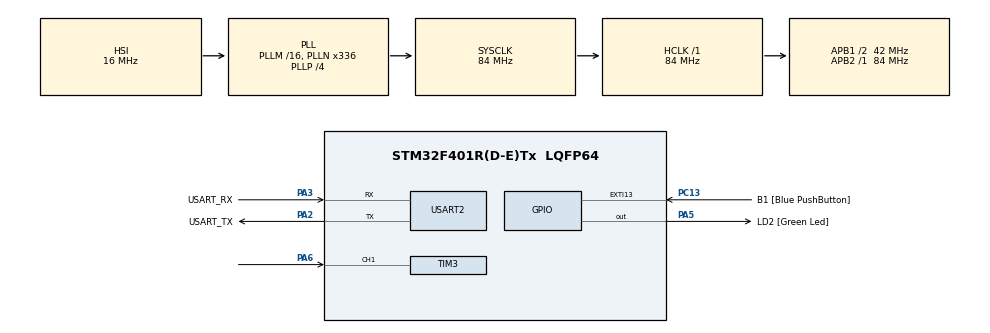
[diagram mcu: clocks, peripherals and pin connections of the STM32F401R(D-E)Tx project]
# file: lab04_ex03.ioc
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Mcu.Family=STM32F4
Mcu.Name=STM32F401R(D-E)Tx
Mcu.Package=LQFP64
NVIC.PriorityGroup=NVIC_PRIORITYGROUP_0
NVIC.TIM3_IRQn=true\:0\:0\:false\:false\:true\:true\:true\:true
NVIC.USART2_IRQn=true\:0\:0\:false\:false\:true\:true\:true\:true
PA13.GPIO_Label=TMS
PA13.Mode=Serial_Wire
PA13.Signal=SYS_JTMS-SWDIO
PA14.GPIO_Label=TCK
PA14.Mode=Serial_Wire
PA14.Signal=SYS_JTCK-SWCLK
PA2.GPIO_Label=USART_TX
PA2.GPIO_Mode=GPIO_MODE_AF_PP
PA2.GPIO_PuPd=GPIO_NOPULL
PA2.GPIO_Speed=GPIO_SPEED_FREQ_LOW
PA2.Mode=Asynchronous
PA2.Signal=USART2_TX
PA3.GPIO_Label=USART_RX
PA3.GPIO_Mode=GPIO_MODE_AF_PP
PA3.GPIO_PuPd=GPIO_NOPULL
PA3.GPIO_Speed=GPIO_SPEED_FREQ_LOW
PA3.Mode=Asynchronous
PA3.Signal=USART2_RX
PA5.GPIO_Label=LD2 [Green Led]
PA5.GPIO_Mode=GPIO_MODE_OUTPUT_PP
PA5.GPIO_PuPd=GPIO_NOPULL
PA5.GPIO_Speed=GPIO_SPEED_FREQ_LOW
PA5.Signal=GPIO_Output
PA6.Signal=S_TIM3_CH1
PB3.GPIO_Label=SWO
PB3.Signal=SYS_JTDO-SWO
PC13-ANTI_TAMP.GPIO_Label=B1 [Blue PushButton]
PC13-ANTI_TAMP.GPIO_ModeDefaultEXTI=GPIO_MODE_IT_FALLING
PC13-ANTI_TAMP.GPIO_PuPd=GPIO_NOPULL
PC13-ANTI_TAMP.Signal=GPXTI13
PC14-OSC32_IN.Mode=LSE-External-Oscillator
PC14-OSC32_IN.Signal=RCC_OSC32_IN
PC15-OSC32_OUT.Mode=LSE-External-Oscillator
PC15-OSC32_OUT.Signal=RCC_OSC32_OUT
PH0\ -\ OSC_IN.Mode=HSE-External-Clock-Source
PH0\ -\ OSC_IN.Signal=RCC_OSC_IN
PH1\ -\ OSC_OUT.Mode=HSE-External-Clock-Source
PH1\ -\ OSC_OUT.Signal=RCC_OSC_OUT
ProjectManager.HeapSize=0x200
ProjectManager.StackSize=0x400
ProjectManager.TargetToolchain=STM32CubeIDE
RCC.48MHZClocksFreq_Value=48000000
RCC.AHBFreq_Value=84000000
RCC.APB1CLKDivider=RCC_HCLK_DIV2
RCC.APB1Freq_Value=42000000
RCC.APB1TimFreq_Value=84000000
RCC.APB2Freq_Value=84000000
RCC.APB2TimFreq_Value=84000000
RCC.CortexFreq_Value=84000000
RCC.HCLKFreq_Value=84000000
RCC.HSE_VALUE=8000000
RCC.HSI_VALUE=16000000
RCC.PLLN=336
RCC.PLLP=RCC_PLLP_DIV4
RCC.PLLQ=7
RCC.SYSCLKFreq_VALUE=84000000
RCC.SYSCLKSource=RCC_SYSCLKSOURCE_PLLCLK
RCC.VCOOutputFreq_Value=336000000
SH.S_TIM3_CH1.0=TIM3_CH1,Input_Capture1_from_TI1
TIM3.Channel-Input_Capture1_from_TI1=TIM_CHANNEL_1
TIM3.ICPolarity_CH1=TIM_INPUTCHANNELPOLARITY_BOTHEDGE
TIM3.Period=39999
TIM3.Prescaler=2099
USART2.VirtualMode=VM_ASYNC
VP_TIM3_VS_ClockSourceINT.Mode=Internal
board=NUCLEO-F401RE

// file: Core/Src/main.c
/* USER CODE BEGIN Header */
/**
  ******************************************************************************
  * @file           : main.c
  * @brief          : Main program body
  ******************************************************************************
  * @attention
  *
  * Copyright (c) 2023 STMicroelectronics.
  * All rights reserved.
  *
  * This software is licensed under terms that can be found in the LICENSE file
  * in the root directory of this software component.
  * If no LICENSE file comes with this software, it is provided AS-IS.
  *
  ******************************************************************************
  */
/* USER CODE END Header */
#include "main.h"

TIM_HandleTypeDef htim3;

UART_HandleTypeDef huart2;

void SystemClock_Config(void);
static void MX_GPIO_Init(void);
static void MX_USART2_UART_Init(void);
static void MX_TIM3_Init(void);

/* USER CODE BEGIN 0 */
volatile int CaptureCompare_FLAG = 0; // Capture compare flag

volatile int correctlyReceivedData = 0;

void HAL_TIM_IC_CaptureCallback(TIM_HandleTypeDef *htim){
	CaptureCompare_FLAG = 1;
}

void HAL_UART_RxCpltCallback(UART_HandleTypeDef *huart){
	  // Set Rx flag
	  correctlyReceivedData = 1;
}
/* USER CODE END 0 */

int main(void)
{

  /* MCU Configuration--------------------------------------------------------*/

  /* Reset of all peripherals, Initializes the Flash interface and the Systick. */
  HAL_Init();

  /* Configure the system clock */
  SystemClock_Config();

  /* Initialize all configured peripherals */
  MX_GPIO_Init();
  MX_USART2_UART_Init();
  MX_TIM3_Init();
  /* USER CODE BEGIN 2 */
  int Captured_Value;
  int r_edge_counter = 0; // This will help to keep track of how many times a rising edge was detected
  int f_edge_counter = 0; // The same, but for falling edges
  int rising_edge[2];
  int falling_edge[2];
  char buffer[40];
  char received_number;

  char welcome_message[] = "Type 1 to see the frequency and 2 to see the duty cycle. Type 3 for maximum frequency and 4 for minimum frequency. \n";

  int period;
  int freq;
  int duty_cycle;
  int max_freq = 0; // variable that records the max frequency
  int min_freq = 999; // variable that records the min frequency

  /* USER CODE END 2 */

  /* Infinite loop */
  /* USER CODE BEGIN WHILE */
  HAL_TIM_IC_Start_IT(&htim3, TIM_CHANNEL_1);
  HAL_UART_Transmit_IT(&huart2, (uint8_t *)welcome_message, sizeof(char)*strlen(welcome_message));

  while (1)
  {

	if(CaptureCompare_FLAG == 1){
		CaptureCompare_FLAG = 0;
		Captured_Value = HAL_TIM_ReadCapturedValue(&htim3, TIM_CHANNEL_1); // Read the captured value

		if(HAL_GPIO_ReadPin(GPIOA, GPIO_PIN_6) == 1){
			rising_edge[r_edge_counter] = Captured_Value;
			r_edge_counter++;
		}

		else{
			falling_edge[f_edge_counter] = Captured_Value;
			f_edge_counter++;
		}
	}

	if(f_edge_counter > 1 && r_edge_counter > 1){
		r_edge_counter=0;
		f_edge_counter=0;

		if(rising_edge[1] > rising_edge[0]){
			period = rising_edge[1] - rising_edge[0];
			duty_cycle = 100*abs(rising_edge[0] - falling_edge[0])/period; // duty cycle in percentage
		}

		freq = 40000/period; // frequency in Hz

		  //__HAL_DBGMCU_FREEZE_TIM3();

		  //__HAL_DBGMCU_FREEZE_TIM2();

		if(freq > max_freq){
			max_freq = freq; // update new maximum frequency
		}
		if(freq < min_freq){
			min_freq = freq; // update new minimum frequency
		}
	}

	HAL_UART_Receive_IT(&huart2, &received_number, 1);

	// Check RX flag
   if (correctlyReceivedData == 1) {
	   correctlyReceivedData = 0;
	   if(received_number == '1'){ // Transmit last recorded frequency
		   HAL_UART_Transmit_IT(&huart2, buffer, sprintf(buffer, "The measured frequency is %d Hz \n", freq));
	   }

	   else if(received_number == '2'){ // Transmit du	ty cycle
		   HAL_UART_Transmit_IT(&huart2, buffer, sprintf(buffer, "The measured duty cycle is %d%% \n", duty_cycle));
		   }
	   else if(received_number == '3'){ // Transmit maximum frequency
	   		   HAL_UART_Transmit_IT(&huart2, buffer, sprintf(buffer, "MAX frequency is %d \n", max_freq));
	   		   }
	   else if(received_number == '4'){ // Transmit minimum frequency
	   		   HAL_UART_Transmit_IT(&huart2, buffer, sprintf(buffer, "MIN frequency is %d \n", min_freq));
	   		   }
   }

    /* USER CODE END WHILE */

  }
}

void SystemClock_Config(void)
{
  RCC_OscInitTypeDef RCC_OscInitStruct = {0};
  RCC_ClkInitTypeDef RCC_ClkInitStruct = {0};

  /** Configure the main internal regulator output voltage
  */
  __HAL_RCC_PWR_CLK_ENABLE();
  __HAL_PWR_VOLTAGESCALING_CONFIG(PWR_REGULATOR_VOLTAGE_SCALE2);

  /** Initializes the RCC Oscillators according to the specified parameters
  * in the RCC_OscInitTypeDef structure.
  */
  RCC_OscInitStruct.OscillatorType = RCC_OSCILLATORTYPE_HSI;
  RCC_OscInitStruct.HSIState = RCC_HSI_ON;
  RCC_OscInitStruct.HSICalibrationValue = RCC_HSICALIBRATION_DEFAULT;
  RCC_OscInitStruct.PLL.PLLState = RCC_PLL_ON;
  RCC_OscInitStruct.PLL.PLLSource = RCC_PLLSOURCE_HSI;
  RCC_OscInitStruct.PLL.PLLM = 16;
  RCC_OscInitStruct.PLL.PLLN = 336;
  RCC_OscInitStruct.PLL.PLLP = RCC_PLLP_DIV4;
  RCC_OscInitStruct.PLL.PLLQ = 7;
  if (HAL_RCC_OscConfig(&RCC_OscInitStruct) != HAL_OK)
  {
    Error_Handler();
  }

  /** Initializes the CPU, AHB and APB buses clocks
  */
  RCC_ClkInitStruct.ClockType = RCC_CLOCKTYPE_HCLK|RCC_CLOCKTYPE_SYSCLK
                              |RCC_CLOCKTYPE_PCLK1|RCC_CLOCKTYPE_PCLK2;
  RCC_ClkInitStruct.SYSCLKSource = RCC_SYSCLKSOURCE_PLLCLK;
  RCC_ClkInitStruct.AHBCLKDivider = RCC_SYSCLK_DIV1;
  RCC_ClkInitStruct.APB1CLKDivider = RCC_HCLK_DIV2;
  RCC_ClkInitStruct.APB2CLKDivider = RCC_HCLK_DIV1;

  if (HAL_RCC_ClockConfig(&RCC_ClkInitStruct, FLASH_LATENCY_2) != HAL_OK)
  {
    Error_Handler();
  }
}

static void MX_TIM3_Init(void)
{

  TIM_ClockConfigTypeDef sClockSourceConfig = {0};
  TIM_MasterConfigTypeDef sMasterConfig = {0};
  TIM_IC_InitTypeDef sConfigIC = {0};

  htim3.Instance = TIM3;
  htim3.Init.Prescaler = 2099;
  htim3.Init.CounterMode = TIM_COUNTERMODE_UP;
  htim3.Init.Period = 39999;
  htim3.Init.ClockDivision = TIM_CLOCKDIVISION_DIV1;
  htim3.Init.AutoReloadPreload = TIM_AUTORELOAD_PRELOAD_DISABLE;
  if (HAL_TIM_Base_Init(&htim3) != HAL_OK)
  {
    Error_Handler();
  }
  sClockSourceConfig.ClockSource = TIM_CLOCKSOURCE_INTERNAL;
  if (HAL_TIM_ConfigClockSource(&htim3, &sClockSourceConfig) != HAL_OK)
  {
    Error_Handler();
  }
  if (HAL_TIM_IC_Init(&htim3) != HAL_OK)
  {
    Error_Handler();
  }
  sMasterConfig.MasterOutputTrigger = TIM_TRGO_RESET;
  sMasterConfig.MasterSlaveMode = TIM_MASTERSLAVEMODE_DISABLE;
  if (HAL_TIMEx_MasterConfigSynchronization(&htim3, &sMasterConfig) != HAL_OK)
  {
    Error_Handler();
  }
  sConfigIC.ICPolarity = TIM_INPUTCHANNELPOLARITY_BOTHEDGE;
  sConfigIC.ICSelection = TIM_ICSELECTION_DIRECTTI;
  sConfigIC.ICPrescaler = TIM_ICPSC_DIV1;
  sConfigIC.ICFilter = 0;
  if (HAL_TIM_IC_ConfigChannel(&htim3, &sConfigIC, TIM_CHANNEL_1) != HAL_OK)
  {
    Error_Handler();
  }

}

static void MX_USART2_UART_Init(void)
{

  huart2.Instance = USART2;
  huart2.Init.BaudRate = 115200;
  huart2.Init.WordLength = UART_WORDLENGTH_8B;
  huart2.Init.StopBits = UART_STOPBITS_1;
  huart2.Init.Parity = UART_PARITY_NONE;
  huart2.Init.Mode = UART_MODE_TX_RX;
  huart2.Init.HwFlowCtl = UART_HWCONTROL_NONE;
  huart2.Init.OverSampling = UART_OVERSAMPLING_16;
  if (HAL_UART_Init(&huart2) != HAL_OK)
  {
    Error_Handler();
  }

}

static void MX_GPIO_Init(void)
{
  GPIO_InitTypeDef GPIO_InitStruct = {0};

  /* GPIO Ports Clock Enable */
  __HAL_RCC_GPIOC_CLK_ENABLE();
  __HAL_RCC_GPIOH_CLK_ENABLE();
  __HAL_RCC_GPIOA_CLK_ENABLE();
  __HAL_RCC_GPIOB_CLK_ENABLE();

  /*Configure GPIO pin Output Level */
  HAL_GPIO_WritePin(LD2_GPIO_Port, LD2_Pin, GPIO_PIN_RESET);

  /*Configure GPIO pin : B1_Pin */
  GPIO_InitStruct.Pin = B1_Pin;
  GPIO_InitStruct.Mode = GPIO_MODE_IT_FALLING;
  GPIO_InitStruct.Pull = GPIO_NOPULL;
  HAL_GPIO_Init(B1_GPIO_Port, &GPIO_InitStruct);

  /*Configure GPIO pin : LD2_Pin */
  GPIO_InitStruct.Pin = LD2_Pin;
  GPIO_InitStruct.Mode = GPIO_MODE_OUTPUT_PP;
  GPIO_InitStruct.Pull = GPIO_NOPULL;
  GPIO_InitStruct.Speed = GPIO_SPEED_FREQ_LOW;
  HAL_GPIO_Init(LD2_GPIO_Port, &GPIO_InitStruct);

}

void Error_Handler(void)
{
  __disable_irq();
  while (1)
  {
  }
}
